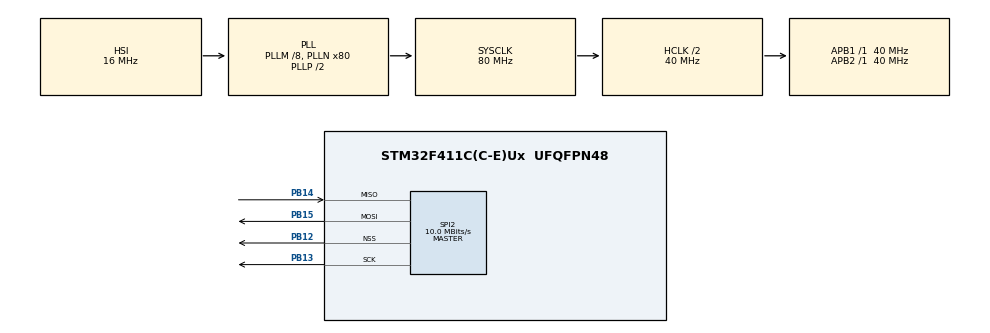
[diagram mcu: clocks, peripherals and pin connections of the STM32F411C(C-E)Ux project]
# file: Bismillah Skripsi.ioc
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Mcu.Family=STM32F4
SPI2.VirtualNSS=VM_NSSHARD
RCC.CortexFreq_Value=40000000
SPI2.VirtualType=VM_MASTER
PB13.Signal=SPI2_SCK
PB15.Signal=SPI2_MOSI
RCC.SYSCLKSource=RCC_SYSCLKSOURCE_PLLCLK
ProjectManager.StackSize=0x400
ProjectManager.TargetToolchain=STM32CubeIDE
RCC.HCLKFreq_Value=40000000
RCC.APB2TimFreq_Value=40000000
RCC.LSE_VALUE=32768
RCC.AHBFreq_Value=40000000
SPI2.BaudRatePrescaler=SPI_BAUDRATEPRESCALER_4
PB14.Signal=SPI2_MISO
RCC.HSE_VALUE=25000000
board=custom
RCC.VCOOutputFreq_Value=160000000
PB15.Mode=Full_Duplex_Master
RCC.APB2Freq_Value=40000000
PB14.Mode=Full_Duplex_Master
SPI2.CalculateBaudRate=10.0 MBits/s
RCC.AHBCLKDivider=RCC_SYSCLK_DIV2
Mcu.Name=STM32F411C(C-E)Ux
RCC.48MHZClocksFreq_Value=40000000
RCC.SYSCLKFreq_VALUE=80000000
Mcu.Package=UFQFPN48
PB12.Mode=NSS_Signal_Hard_Output
SPI2.Mode=SPI_MODE_MASTER
ProjectManager.HeapSize=0x200
RCC.HSI_VALUE=16000000
NVIC.PriorityGroup=NVIC_PRIORITYGROUP_4
RCC.PLLM=8
RCC.PLLN=80
RCC.APB1TimFreq_Value=40000000
SPI2.DataSize=SPI_DATASIZE_16BIT
SPI2.Direction=SPI_DIRECTION_2LINES
PB13.Mode=Full_Duplex_Master
RCC.APB1Freq_Value=40000000
PB12.Signal=SPI2_NSS

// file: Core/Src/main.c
/* USER CODE BEGIN Header */
/**
  ******************************************************************************
  * @file           : main.c
  * @brief          : Main program body
  ******************************************************************************
  * @attention
  *
  * <h2><center>&copy; Copyright (c) 2021 STMicroelectronics.
  * All rights reserved.</center></h2>
  *
  * This software component is licensed by ST under BSD 3-Clause license,
  * the "License"; You may not use this file except in compliance with the
  * License. You may obtain a copy of the License at:
  *                        opensource.org/licenses/BSD-3-Clause
  *
  ******************************************************************************
  */
/* USER CODE END Header */
#include "main.h"

/* USER CODE BEGIN Includes */
#define ARM_MATH_CM4
#include "mcp390x.h"
#include "stm32f4xx_hal_gpio.h"
#include "arm_math.h"
#include "spi_examples.h"

/* USER CODE END Includes */

/* USER CODE BEGIN PTD */
arm_rfft_fast_instance_f32 fft_handler;
/* USER CODE END PTD */

SPI_HandleTypeDef hspi2;

/* USER CODE BEGIN PV */
extern unsigned char uart_buf[15];
extern unsigned char Tx_Count;

//uint16_t GPIO_PIN_13
/* USER CODE END PV */

void SystemClock_Config(void);
static void MX_GPIO_Init(void);
static void MX_SPI2_Init(void);

int main(void)
{

  /* MCU Configuration--------------------------------------------------------*/

  /* Reset of all peripherals, Initializes the Flash interface and the Systick. */
  HAL_Init();

  /* Configure the system clock */
  SystemClock_Config();

  /* Initialize all configured peripherals */
  MX_GPIO_Init();
  MX_SPI2_Init();
  /* USER CODE BEGIN 2 */
  uint8_t dataIn;
  uint8_t dataOut = 0x50;
  uint8_t regAddr = 7;
  /* USER CODE END 2 */

  /* Infinite loop */
  /* USER CODE BEGIN WHILE */

  while (1)
  {
	  spi_read(regAddr, &dataIn);
	  spi_write(regAddr, &dataOut);
	  spi_read(regAddr, &dataIn);
	  HAL_Delay(500);
    /* USER CODE END WHILE */

  }
}

void SystemClock_Config(void)
{
  RCC_OscInitTypeDef RCC_OscInitStruct = {0};
  RCC_ClkInitTypeDef RCC_ClkInitStruct = {0};

  /** Configure the main internal regulator output voltage
  */
  __HAL_RCC_PWR_CLK_ENABLE();
  __HAL_PWR_VOLTAGESCALING_CONFIG(PWR_REGULATOR_VOLTAGE_SCALE1);
  /** Initializes the RCC Oscillators according to the specified parameters
  * in the RCC_OscInitTypeDef structure.
  */
  RCC_OscInitStruct.OscillatorType = RCC_OSCILLATORTYPE_HSI;
  RCC_OscInitStruct.HSIState = RCC_HSI_ON;
  RCC_OscInitStruct.HSICalibrationValue = RCC_HSICALIBRATION_DEFAULT;
  RCC_OscInitStruct.PLL.PLLState = RCC_PLL_ON;
  RCC_OscInitStruct.PLL.PLLSource = RCC_PLLSOURCE_HSI;
  RCC_OscInitStruct.PLL.PLLM = 8;
  RCC_OscInitStruct.PLL.PLLN = 80;
  RCC_OscInitStruct.PLL.PLLP = RCC_PLLP_DIV2;
  RCC_OscInitStruct.PLL.PLLQ = 4;
  if (HAL_RCC_OscConfig(&RCC_OscInitStruct) != HAL_OK)
  {
    Error_Handler();
  }
  /** Initializes the CPU, AHB and APB buses clocks
  */
  RCC_ClkInitStruct.ClockType = RCC_CLOCKTYPE_HCLK|RCC_CLOCKTYPE_SYSCLK
                              |RCC_CLOCKTYPE_PCLK1|RCC_CLOCKTYPE_PCLK2;
  RCC_ClkInitStruct.SYSCLKSource = RCC_SYSCLKSOURCE_PLLCLK;
  RCC_ClkInitStruct.AHBCLKDivider = RCC_SYSCLK_DIV2;
  RCC_ClkInitStruct.APB1CLKDivider = RCC_HCLK_DIV1;
  RCC_ClkInitStruct.APB2CLKDivider = RCC_HCLK_DIV1;

  if (HAL_RCC_ClockConfig(&RCC_ClkInitStruct, FLASH_LATENCY_1) != HAL_OK)
  {
    Error_Handler();
  }
}

static void MX_SPI2_Init(void)
{

  /* SPI2 parameter configuration*/
  hspi2.Instance = SPI2;
  hspi2.Init.Mode = SPI_MODE_MASTER;
  hspi2.Init.Direction = SPI_DIRECTION_2LINES;
  hspi2.Init.DataSize = SPI_DATASIZE_16BIT;
  hspi2.Init.CLKPolarity = SPI_POLARITY_LOW;
  hspi2.Init.CLKPhase = SPI_PHASE_1EDGE;
  hspi2.Init.NSS = SPI_NSS_HARD_OUTPUT;
  hspi2.Init.BaudRatePrescaler = SPI_BAUDRATEPRESCALER_4;
  hspi2.Init.FirstBit = SPI_FIRSTBIT_MSB;
  hspi2.Init.TIMode = SPI_TIMODE_DISABLE;
  hspi2.Init.CRCCalculation = SPI_CRCCALCULATION_DISABLE;
  hspi2.Init.CRCPolynomial = 10;
  if (HAL_SPI_Init(&hspi2) != HAL_OK)
  {
    Error_Handler();
  }

}

static void MX_GPIO_Init(void)
{

  /* GPIO Ports Clock Enable */
  __HAL_RCC_GPIOB_CLK_ENABLE();

}

void Error_Handler(void)
{
}

/************************ (C) COPYRIGHT STMicroelectronics *****END OF FILE****/
